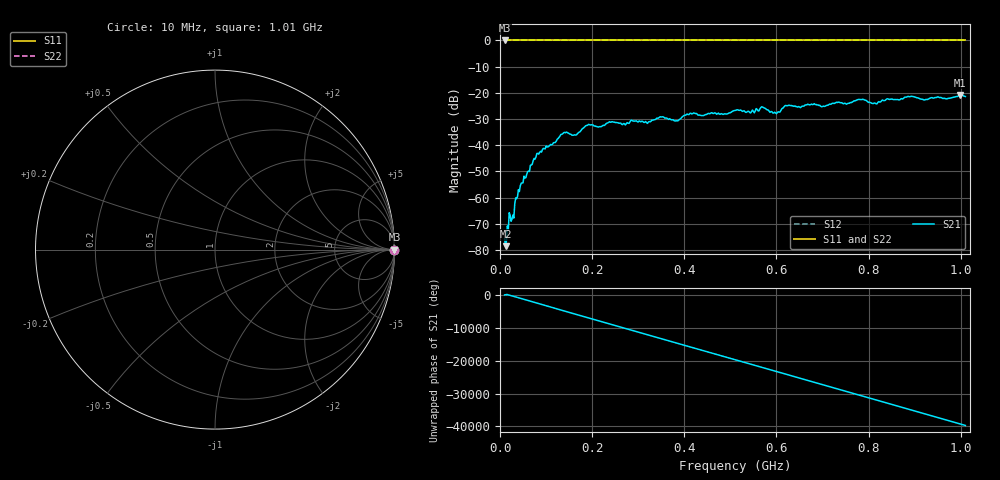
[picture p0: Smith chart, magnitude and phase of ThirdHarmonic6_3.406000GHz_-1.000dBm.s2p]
! 8/17/2025 10:53:36 AM
! C:\ANRITSUVNA\TEMP\TEMP.S2P
! CHANNEL.1
! TR.MEASUREMENT
! RAW.DATA
! RF.CORRECTION.OFF
! AVERAGING.OFF
! IF.BANDWIDTH: 5KHZ
! SWEEPTYPE:  FREQ.SWEEP(Linear)
! Reference Plane Port Info
! PORT:  PORT1  PORT2
! DISTANCE:  0  m  0  m
! TIME:  0  s  0  s
! PHASE.OFFSET:  0  deg.  0  deg.
! LOSS:  0  dB  0  dB
! REF.LOSS:  0  dB  0  dB
! REF.FREQ:  0  Hz  0  Hz
! Power Info
! POWER:  -20  dBm  -20  dBm
! EFF.POWER:  -20  dBm  -20  dBm
! SOURCE.ATTEN:  0  dB  0  dB
! TEST.ATTEN:  0  dB  0  dB
# GHZ S RI R 50.0
! FREQ.GHZ  S11RE  S11IM  S21RE  S21IM  S12RE  S12IM  S22RE  S22IM
!; PortSelection: Port_12
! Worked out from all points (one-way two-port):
!   501 points, 10 MHz to 1.01 GHz, reference 50 ohm
!   highest |S21| = -20.81 dB at 998 MHz (marker M1); lowest = -78.6 dB at 12 MHz (marker M2)
!   lowest |S11| = 0.0 dB at 10 MHz (marker M3)
!   |S11| at or under -10 dB: nowhere
!   |S22| runs from 0.0 to 0.0 dB; largest |S21 - S12| = 1.1
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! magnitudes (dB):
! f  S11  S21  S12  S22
! 10 MHz  0.0  -75.8  0.0  0.0
! 12 MHz  0.0  -78.6  0.0  0.0
! 20 MHz  0.0  -65.8  0.0  0.0
! 28 MHz  0.0  -66.7  0.0  0.0
! 36 MHz  0.0  -60.5  0.0  0.0
! 44 MHz  0.0  -55.6  0.0  0.0
! 78 MHz  0.0  -44.5  0.0  0.0
! 136 MHz  0.0  -35.7  0.0  0.0
! 162 MHz  0.0  -36.0  0.0  0.0
! 178 MHz  0.0  -33.9  0.0  0.0
! 194 MHz  0.0  -32.2  0.0  0.0
! 344 MHz  0.0  -29.6  0.0  0.0
! 382 MHz  0.0  -30.7  0.0  0.0
! 416 MHz  0.0  -28.1  0.0  0.0
! 510 MHz  0.0  -26.7  0.0  0.0
! 570 MHz  0.0  -25.5  0.0  0.0
! 596 MHz  0.0  -27.4  0.0  0.0
! 622 MHz  0.0  -24.9  0.0  0.0
! 678 MHz  0.0  -24.5  0.0  0.0
! 844 MHz  0.0  -22.5  0.0  0.0
! 998 MHz  0.0  -20.8  0.0  0.0
! 1.01 GHz  0.0  -21.4  0.0  0.0
